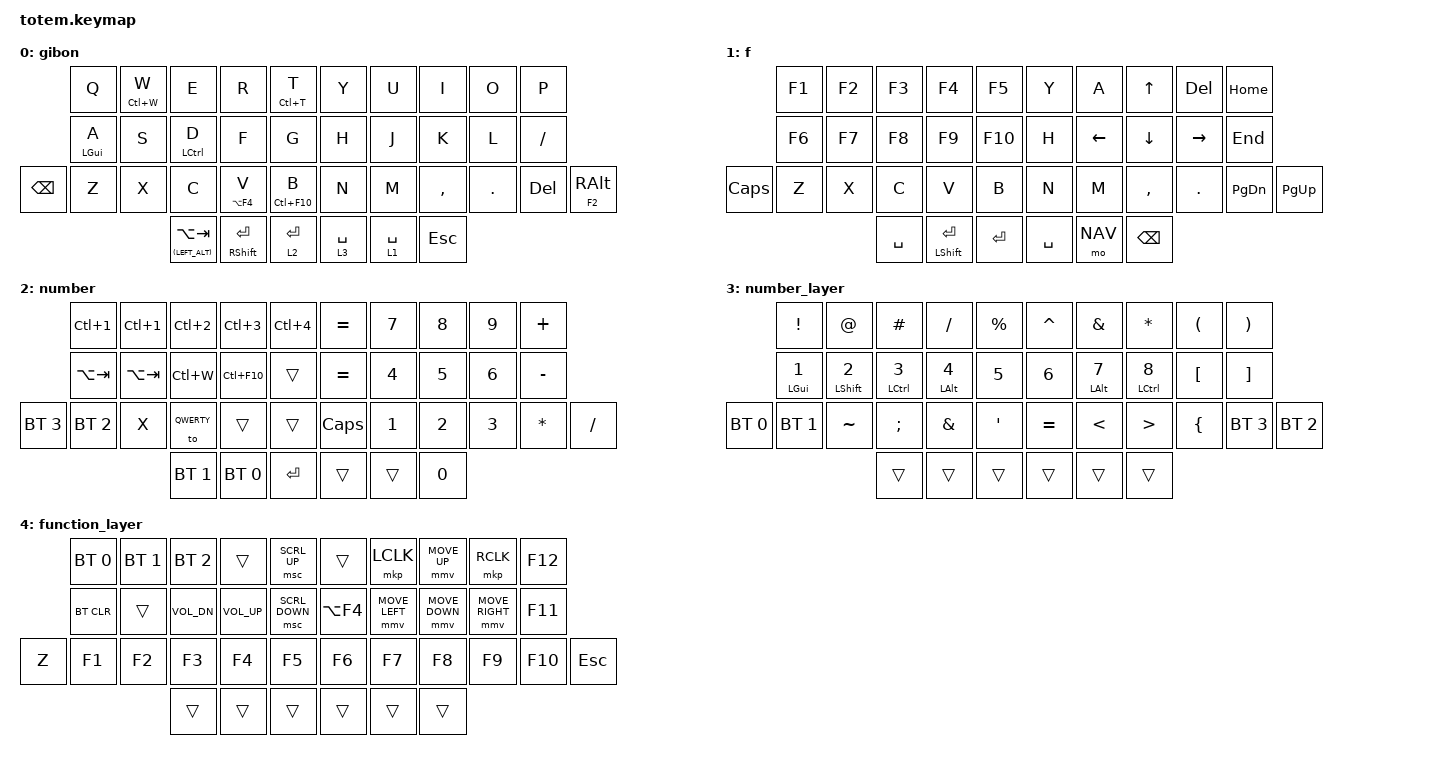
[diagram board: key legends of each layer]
/*
 * Copyright (c) 2020 The ZMK Contributors
 *
 * SPDX-License-Identifier: MIT
 */

#define MTGAP 0
#define QWERTY 1
#define NAV 2
#define NUM 3
#define FUNC 4
#define NOTHING 5

#include <behaviors/mouse_keys.dtsi>
#include <dt-bindings/zmk/mouse.h>
#include <behaviors.dtsi>
#include <dt-bindings/zmk/bt.h>
#include <dt-bindings/zmk/keys.h>
#include <dt-bindings/zmk/pointing.h>

/ {
    conditional_layers {
        compatible = "zmk,conditional-layers";

        tri_layer {
            if-layers = <NAV NUM>;
            then-layer = <FUNC>;
        };
    };

    behaviors {
        ht: holdtap_tappreffered {
            compatible = "zmk,behavior-hold-tap";
            #binding-cells = <2>;
            flavor = "tap-preferred";
            tapping-term-ms = <200>;
            quick-tap-ms = <200>;
            require-prior-idle-ms = <125>;
            bindings = <&kp>, <&kp>;
        };
    };

    combos {
        compatible = "zmk,combos";

        copy {
            bindings = <&kp LC(C)>;
            key-positions = <11 12>;
        };

        ctlV {
            bindings = <&kp LC(V)>;
            key-positions = <12 13>;
        };
    };

    keymap {
        compatible = "zmk,keymap";

        gibon {
            // -----------------------------------------------------------------------------------------
            // |  TAB |  Y    |  P      |  O      |  U      |  J  |   |  K  |  D      |  L      |  C      |  W      | BKSP |
            // | CTRL | gui(I)|  sft(N) |  ctl(E) |  alt(A) |  .  |   |  M  |  alt(H) |  ctl(T) |  sft(S) |  gui(R) |  '   |
            // | SHFT |  Q    |  Z      |  ;      |  ,      |  '  |   |  B  |  F      |  G      |  V      |  X      | ESC  |
            //                          | bksp    | NUM     | SPC |   | ENT | RSE     | ALT     |

            bindings = <
               &kp Q           &ht LC(W) W  &kp E                   &kp R                  &ht LC(T) T      &kp Y        &kp U        &kp I      &kp O    &kp P
               &ht LEFT_GUI A  &kp S        &ht LEFT_CONTROL D      &kp F                  &kp G            &kp H        &kp J        &kp K      &kp L    &kp SLASH
&kp BACKSPACE  &kp Z           &kp X        &kp C                   &ht LA(F4) V           &ht LC(F10) B    &kp N        &kp M        &kp COMMA  &kp DOT  &kp DEL    &ht F2 RIGHT_ALT
                                            &ht (LEFT_ALT) LA(TAB)  &ht RIGHT_SHIFT ENTER  &lt 2 ENTER      &lt 3 SPACE  &lt 1 SPACE  &kp ESC
            >;
        };

        f {
            // -----------------------------------------------------------------------------------------
            // |  TAB |  Q    |  W      |  E      |  R      |  T  |   |  Y  |  U      |  I      |  O      |  P      | BKSP |
            // | CTRL | gui(A)|  sft(S) |  ctl(D) |  alt(F) |  G  |   |  H  |  alt(J) |  ctl(K) |  sft(L) |  gui(;) |  '   |
            // | SHFT |  Z    |  X      |  C      |  V      |  B  |   |  N  |  M      |  ,      |  .      |  /      | ESC  |
            //                          | GUI     | LWR     | SPC |   | ENT | RSE     | ALT     |

            bindings = <
          &kp F1  &kp F2  &kp F3     &kp F4                &kp F5       &kp Y      &kp A           &kp UP_ARROW   &kp DEL    &kp HOME
          &kp F6  &kp F7  &kp F8     &kp F9                &kp F10      &kp H      &kp LEFT_ARROW  &kp DOWN       &kp RIGHT  &kp END
&kp CAPS  &kp Z   &kp X   &kp C      &kp V                 &kp B        &kp N      &kp M           &kp COMMA      &kp DOT    &kp PAGE_DOWN  &kp PAGE_UP
                          &kp SPACE  &ht LEFT_SHIFT ENTER  &kp ENTER    &kp SPACE  &mo NAV         &kp BACKSPACE
            >;
        };

        number {
            // -----------------------------------------------------------------------------------------
            // |  TAB |  `  |     |  up |     |     |   |     |        | PGUP   | RALT  |     | BKSP |
            // | BTCLR| TAB | left| down|right|     |   |     |LA(HOME)|LC(PGDN)|LS(END)|     |      |
            // | SHFT | ESC |MTGAP|QWERT|     |     |   |     |G(left) |G(UP)   |G(RIGH)|CAPS |      |
            //                    |     |     |     |   |     |        |        |

            bindings = <
              &kp LC(NUMBER_1)  &kp LC(NUMBER_1)  &kp LC(NUMBER_2)  &kp LC(NUMBER_3)  &kp LC(NUMBER_4)    &kp EQUAL     &kp N7        &kp N8        &kp N9        &kp PLUS
              &kp LA(TAB)       &kp LA(TAB)       &kp LC(W)         &kp LC(F10)       &trans              &kp EQUAL     &kp NUMBER_4  &kp N5        &kp NUMBER_6  &kp MINUS
&bt BT_SEL 3  &bt BT_SEL 2      &kp X             &to QWERTY        &trans            &trans              &kp CAPSLOCK  &kp NUMBER_1  &kp NUMBER_2  &kp NUMBER_3  &kp ASTERISK  &kp SLASH
                                                  &bt BT_SEL 1      &bt BT_SEL 0      &kp ENTER           &trans        &trans        &kp N0
            >;
        };

        number_layer {
            // -----------------------------------------------------------------------------------------
            // |  TAB |  +  |  -  |  *  |  /  |  %  |   |  \  |  (  |  )  |  [  |  ]  | BKSP |
            // | CTRL |LG(1)|LS(2)|LC(3)|LA(4)|  5  |   |  6  |LA(7)|LC(8)|LS(9)|LG(0)|  `   |
            // | SHFT |  !  |  ~  |  ;  |  &  |  '  |   |  =  |  <  |  >  |  {  |  }  |  ~   |
            //                    | GUI |     | SPC |   | ENT |     | ALT |

            bindings = <
              &kp EXCLAMATION  &kp AT_SIGN   &kp HASH      &kp SLASH    &kp PRCNT    &kp CARET  &kp AMPERSAND  &kp ASTERISK  &kp LEFT_PARENTHESIS  &kp RIGHT_PARENTHESIS
              &ht LGUI N1      &ht LSHFT N2  &ht LCTRL N3  &ht LALT N4  &kp N5       &kp N6     &ht LALT N7    &ht LCTRL N8  &kp LEFT_BRACKET      &kp RIGHT_BRACKET
&bt BT_SEL 0  &bt BT_SEL 1     &kp TILDE     &kp SEMI      &kp AMPS     &kp SQT      &kp EQUAL  &kp LT         &kp GT        &kp LBRC              &bt BT_SEL 3           &bt BT_SEL 2
                                             &trans        &trans       &trans       &trans     &trans         &trans
            >;
        };

        function_layer {
            // -----------------------------------------------------------------------------------------
            // |      | BT1 | BT2 | BT3 |     |MSCDN|   |     |mkpL |mmvUP|mkpR | F12 |      |
            // |      |BTCLR|     |VOLDN|VOLUP|MSCUP|   |A(F4)|mmvLE|mmvDN|mmvRI| F11 |      |
            // |      | F1  | F2  | F3  | F4  | F5  |   | F6  | F7  | F8  | F9  | F10 |      |
            //                    | GUI |     | SPC |   | ENT |     | ALT |

            bindings = <
       &bt BT_SEL 0  &bt BT_SEL 1  &bt BT_SEL 2  &trans        &msc SCRL_UP      &trans      &mkp LCLK       &mmv MOVE_UP    &mkp RCLK        &kp F12
       &bt BT_CLR    &trans        &kp C_VOL_DN  &kp C_VOL_UP  &msc SCRL_DOWN    &kp LA(F4)  &mmv MOVE_LEFT  &mmv MOVE_DOWN  &mmv MOVE_RIGHT  &kp F11
&kp Z  &kp F1        &kp F2        &kp F3        &kp F4        &kp F5            &kp F6      &kp F7          &kp F8          &kp F9           &kp F10  &kp ESC
                                   &trans        &trans        &trans            &trans      &trans          &trans
            >;
        };
    };
};
